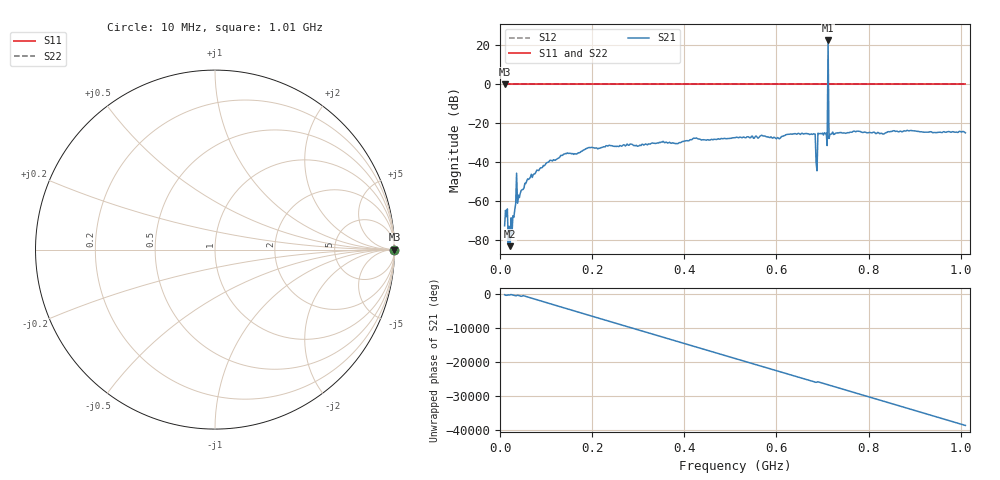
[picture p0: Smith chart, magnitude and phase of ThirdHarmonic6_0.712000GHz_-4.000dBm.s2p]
! 8/15/2025 11:47:31 PM
! C:\ANRITSUVNA\TEMP\TEMP.S2P
! CHANNEL.1
! TR.MEASUREMENT
! RAW.DATA
! RF.CORRECTION.OFF
! AVERAGING.OFF
! IF.BANDWIDTH: 5KHZ
! SWEEPTYPE:  FREQ.SWEEP(Linear)
! Reference Plane Port Info
! PORT:  PORT1  PORT2
! DISTANCE:  0  m  0  m
! TIME:  0  s  0  s
! PHASE.OFFSET:  0  deg.  0  deg.
! LOSS:  0  dB  0  dB
! REF.LOSS:  0  dB  0  dB
! REF.FREQ:  0  Hz  0  Hz
! Power Info
! POWER:  -20  dBm  -20  dBm
! EFF.POWER:  -20  dBm  -20  dBm
! SOURCE.ATTEN:  0  dB  0  dB
! TEST.ATTEN:  0  dB  0  dB
# GHZ S RI R 50.0
! FREQ.GHZ  S11RE  S11IM  S21RE  S21IM  S12RE  S12IM  S22RE  S22IM
!; PortSelection: Port_12
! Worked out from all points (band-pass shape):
!   501 points, 10 MHz to 1.01 GHz, reference 50 ohm
!   highest |S21| = 22.45 dB at 712 MHz (marker M1); lowest = -82.9 dB at 22 MHz (marker M2)
!   |S21| within 3 dB of the highest: 711.8886 MHz to 712.1194 MHz (230.9 kHz wide, 0.0324 % of centre)
!   lowest |S11| = 0.0 dB at 10 MHz (marker M3)
!   |S11| at or under -10 dB: nowhere
!   |S22| runs from 0.0 to 0.0 dB; largest |S21 - S12| = 13
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0.01  1 0  -0.000141 -0.00019  1 0  1 0
0.016  1 0  -0.000338 0.000545  1 0  1 0
0.022  1 0  -6.5e-05 -2.91e-05  1 0  1 0
0.03  1 0  -4.94e-05 0.000386  1 0  1 0
0.036  1 0  0.00405 -0.00338  1 0  1 0
0.064  1 0  -0.00288 0.00255  1 0  1 0
0.106  1 0  -0.00744 -0.00705  1 0  1 0
0.178  1 0  -0.0188 -0.00468  1 0  1 0
0.344  1 0  0.0305 -0.00706  1 0  1 0
0.51  1 0  -0.0402 0.0149  1 0  1 0
0.678  1 0  -0.0245 -0.0459  1 0  1 0
0.68  1 0  -0.0514 0.0158  1 0  1 0
0.684  1 0  0.0528 0.000307  1 0  1 0
0.69  1 0  -0.0279 0.0481  1 0  1 0
0.694  1 0  0.0407 -0.0359  1 0  1 0
0.706  1 0  -0.0524 -0.0141  1 0  1 0
0.708  1 0  -0.0224 0.0512  1 0  1 0
0.712  1 0  7.09 -11.2  1 0  1 0
0.716  1 0  -0.0451 0.0256  1 0  1 0
0.718  1 0  0.0158 0.0504  1 0  1 0
0.844  1 0  0.0437 0.0425  1 0  1 0
1.01  1 0  -0.0547 -0.0158  1 0  1 0
